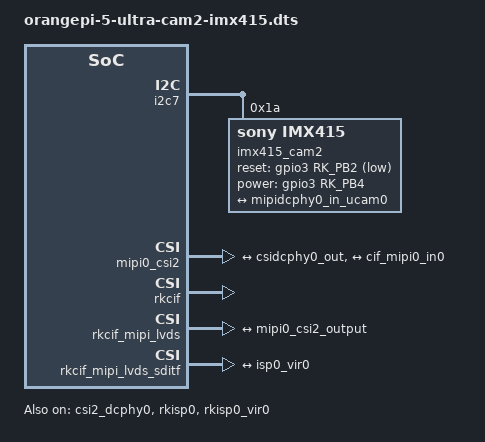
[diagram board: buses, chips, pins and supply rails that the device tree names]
/dts-v1/;
/plugin/;

#include <dt-bindings/clock/rk3588-cru.h>
#include <dt-bindings/power/rk3588-power.h>
#include <dt-bindings/gpio/gpio.h>
#include <dt-bindings/pinctrl/rockchip.h>

/ {
	metadata {
		title = "Enable IMX415 on CAM2";
		compatible = "rockchip,rk3588-orangepi-5-ultra", "rockchip,rk3588";
		category = "camera";
		exclusive = "csi2_dcphy0";
		description = "Enable IMX415 4K camera on CAM2 (i2c7).";
	};
};

&i2c7 {
	status = "okay";
	#address-cells = <1>;
	#size-cells = <0>;

	imx415_cam2: imx415@1a {
		status = "okay";
		compatible = "sony,imx415";
		reg = <0x1a>;
		clocks = <&cru CLK_MIPI_CAMARAOUT_M3>;
		clock-names = "xvclk";
		power-domains = <&power RK3588_PD_VI>;
		pinctrl-names = "default";
		pinctrl-0 = <&mipim1_camera3_clk>;
		rockchip,grf = <&sys_grf>;
		reset-gpios = <&gpio3 RK_PB2 GPIO_ACTIVE_LOW>;
		power-gpios = <&gpio3 RK_PB4 GPIO_ACTIVE_HIGH>;
		rockchip,camera-module-index = <2>;
		rockchip,camera-module-facing = "back";
		rockchip,camera-module-name = "CMK-OT2022-PX1";
		rockchip,camera-module-lens-name = "IR0147-50IRC-8M-F20";
		port {
			imx415_cam2_out: endpoint {
				remote-endpoint = <&mipidcphy0_in_ucam0>;
				data-lanes = <1 2 3 4>;
			};
		};
	};
};

&csi2_dcphy0 {
	status = "okay";

	ports {
		#address-cells = <1>;
		#size-cells = <0>;

		port@0 {
			reg = <0>;
			#address-cells = <1>;
			#size-cells = <0>;

			mipidcphy0_in_ucam0: endpoint@1 {
				reg = <1>;
				remote-endpoint = <&imx415_cam2_out>;
				data-lanes = <1 2 3 4>;
			};
		};

		port@1 {
			reg = <1>;
			#address-cells = <1>;
			#size-cells = <0>;

			csidcphy0_out: endpoint@0 {
				reg = <0>;
				remote-endpoint = <&mipi0_csi2_input>;
			};
		};
	};
};

&mipi0_csi2 {
	status = "okay";

	ports {
		#address-cells = <1>;
		#size-cells = <0>;

		port@0 {
			reg = <0>;
			#address-cells = <1>;
			#size-cells = <0>;

			mipi0_csi2_input: endpoint@1 {
				reg = <1>;
				remote-endpoint = <&csidcphy0_out>;
			};
		};

		port@1 {
			reg = <1>;
			#address-cells = <1>;
			#size-cells = <0>;

			mipi0_csi2_output: endpoint@0 {
				reg = <0>;
				remote-endpoint = <&cif_mipi0_in0>;
			};
		};
	};
};

&rkcif {
	status = "okay";
};

&rkcif_mipi_lvds {
	status = "okay";

	port {
		cif_mipi0_in0: endpoint {
			remote-endpoint = <&mipi0_csi2_output>;
		};
	};
};

&rkcif_mipi_lvds_sditf {
	status = "okay";

	port {
		mipi_lvds_sditf: endpoint {
			remote-endpoint = <&isp0_vir0>;
		};
	};
};

&rkcif_mmu {
	status = "okay";
};

&isp0_mmu {
	status = "okay";
};

&rkisp0 {
	status = "okay";
};

&rkisp0_vir0 {
	status = "okay";

	port {
		#address-cells = <1>;
		#size-cells = <0>;

		isp0_vir0: endpoint@0 {
			reg = <0>;
			remote-endpoint = <&mipi_lvds_sditf>;
		};
	};
};
